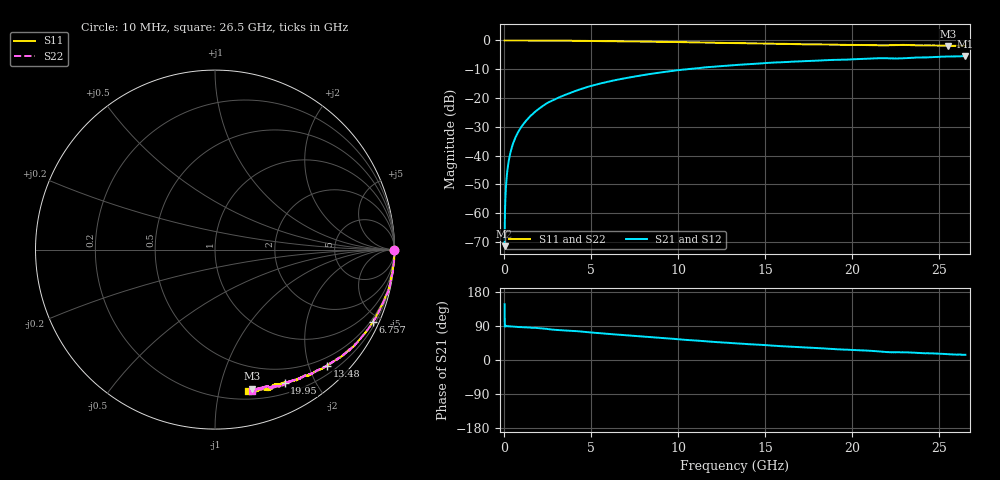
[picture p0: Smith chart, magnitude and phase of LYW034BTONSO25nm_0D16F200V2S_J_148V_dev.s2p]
!Keysight Technologies,N5222B,MY61253708,A.15.00.15
!Date: Wednesday, June 19, 2024 10:08:38
!Correction: S11(C  2-Port  )
!S21(C  2-Port  )
!S12(C  2-Port  )
!S22(C  2-Port  )
!S2P File: Measurements: S11, S21, S12, S22:
# Hz S  RI  R 50
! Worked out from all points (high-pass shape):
!   2651 points, 10 MHz to 26.5 GHz, reference 50 ohm
!   highest |S21| = -5.41 dB at 26.5 GHz (marker M1); lowest = -71.5 dB at 10 MHz (marker M2)
!   |S21| within 3 dB of the highest: 13.57 GHz to end of sweep
!   lowest |S11| = -1.9 dB at 25.5 GHz (marker M3), VSWR 9.11, Z = 14.5 - j63 ohm
!   |S11| at or under -10 dB: nowhere
!   |S22| runs from -1.8 to 0.0 dB; largest |S21 - S12| = 0.006
!   S11 on the Smith chart (normalised r, x): 10 MHz: open; 6.757 GHz: 0.36, -4.56; 13.48 GHz: 0.34, -2.30; 19.95 GHz: 0.32, -1.60; 26.5 GHz: 0.27, -1.23
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1e7  0.9984 -0.0032  -0.000225 0.000145  0.00013 0.000443  0.9986 -0.00226
7.997358e7  1 -0.00573  5.76e-06 0.0026  3.36e-05 0.00262  0.9994 -0.00515
1.599434e8  1 -0.0113  7.16e-05 0.00523  5.98e-05 0.00526  0.9997 -0.0105
1.999283e8  1 -0.0135  8.18e-05 0.00652  0.000103 0.00658  0.9998 -0.0127
2.599057e8  0.9997 -0.0175  0.000201 0.00849  0.000147 0.00857  0.9997 -0.0166
3.598679e8  0.9996 -0.0245  0.000302 0.0118  0.000283 0.0118  0.9996 -0.0235
4.898189e8  0.9989 -0.0328  0.000542 0.016  0.000504 0.0161  0.9986 -0.0314
6.497585e8  0.9986 -0.0429  0.000872 0.0212  0.000867 0.0213  0.9987 -0.0413
8.296906e8  0.998 -0.0549  0.00144 0.0269  0.00145 0.0271  0.998 -0.0537
1.449457e9  0.991 -0.0966  0.00336 0.0473  0.00341 0.0474  0.9933 -0.0923
2.329125e9  0.9825 -0.1502  0.00963 0.0766  0.0098 0.077  0.9838 -0.1497
3.218789e9  0.9714 -0.2066  0.0207 0.103  0.0208 0.1035  0.9725 -0.2043
4.428332e9  0.9438 -0.2783  0.0374 0.1399  0.0377 0.1405  0.9462 -0.274
6.757453e9  0.88 -0.4029  0.0875 0.1971  0.0886 0.1975  0.8825 -0.4006
8.846664e9  0.8067 -0.4997  0.1421 0.2351  0.1433 0.2353  0.8101 -0.4957
1.3255e10  0.6323 -0.6409  0.2682 0.2606  0.2699 0.2601  0.6393 -0.6372
1.348491e10  0.6227 -0.6488  0.2749 0.2597  0.2755 0.2593  0.6297 -0.6418
1.767333e10  0.4613 -0.7219  0.3745 0.2345  0.3771 0.2326  0.4756 -0.718
1.995247e10  0.3876 -0.743  0.4185 0.2105  0.4206 0.2082  0.4059 -0.7388
2.209166e10  0.3257 -0.7562  0.4578 0.1736  0.4591 0.1705  0.3241 -0.7619
2.550038e10  0.2064 -0.7752  0.5077 0.1377  0.5086 0.137  0.2309 -0.778
2.65e10  0.1866 -0.789  0.5212 0.1264  0.5202 0.1225  0.2047 -0.7879
